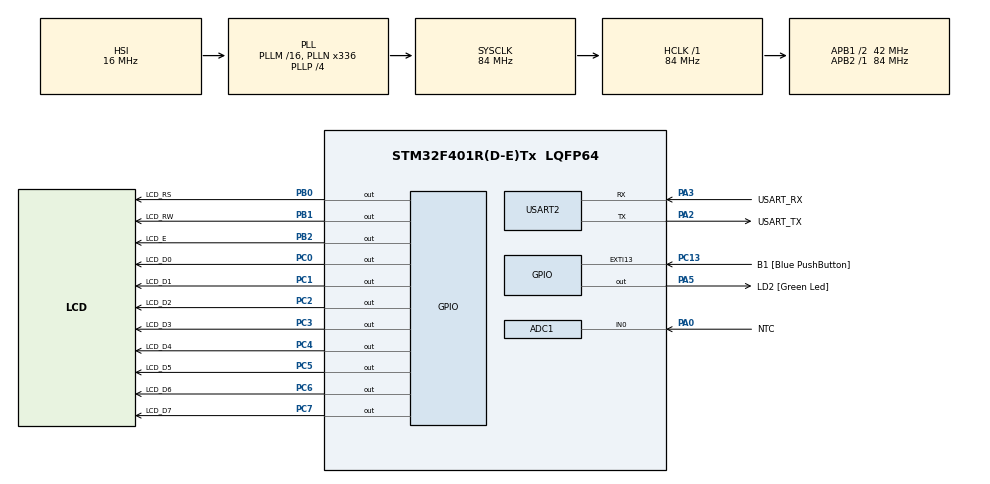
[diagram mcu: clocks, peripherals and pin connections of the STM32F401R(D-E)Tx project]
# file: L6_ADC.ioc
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ADC1.Channel-0\#ChannelRegularConversion=ADC_CHANNEL_VREFINT
ADC1.Channel-1\#ChannelRegularConversion=ADC_CHANNEL_TEMPSENSOR
ADC1.Channel-2\#ChannelRegularConversion=ADC_CHANNEL_0
ADC1.ClockPrescaler=ADC_CLOCK_SYNC_PCLK_DIV4
ADC1.ContinuousConvMode=ENABLE
ADC1.DMAContinuousRequests=DISABLE
ADC1.DataAlign=ADC_DATAALIGN_RIGHT
ADC1.DiscontinuousConvMode=DISABLE
ADC1.EOCSelection=ADC_EOC_SINGLE_CONV
ADC1.EnableAnalogWatchDog=false
ADC1.ExternalTrigConv=ADC_SOFTWARE_START
ADC1.ExternalTrigConvEdge=ADC_EXTERNALTRIGCONVEDGE_NONE
ADC1.InjNumberOfConversion=0
ADC1.NbrOfConversion=3
ADC1.NbrOfConversionFlag=1
ADC1.Rank-0\#ChannelRegularConversion=1
ADC1.Rank-1\#ChannelRegularConversion=2
ADC1.Rank-2\#ChannelRegularConversion=3
ADC1.Resolution=ADC_RESOLUTION_12B
ADC1.SamplingTime-0\#ChannelRegularConversion=ADC_SAMPLETIME_480CYCLES
ADC1.SamplingTime-1\#ChannelRegularConversion=ADC_SAMPLETIME_480CYCLES
ADC1.SamplingTime-2\#ChannelRegularConversion=ADC_SAMPLETIME_480CYCLES
ADC1.ScanConvMode=ENABLE
ADC1.master=1
Mcu.Family=STM32F4
Mcu.Name=STM32F401R(D-E)Tx
Mcu.Package=LQFP64
NVIC.ADC_IRQn=true\:0\:0\:false\:false\:true\:true
NVIC.PriorityGroup=NVIC_PRIORITYGROUP_0
NVIC.TIM1_TRG_COM_TIM11_IRQn=true\:0\:0\:false\:false\:true\:true
NVIC.TIM1_UP_TIM10_IRQn=true\:0\:0\:false\:false\:true\:true
PA0-WKUP.GPIO_Label=NTC
PA0-WKUP.Signal=ADCx_IN0
PA13.GPIO_Label=TMS
PA13.Mode=Serial_Wire
PA13.Signal=SYS_JTMS-SWDIO
PA14.GPIO_Label=TCK
PA14.Mode=Serial_Wire
PA14.Signal=SYS_JTCK-SWCLK
PA2.GPIO_Label=USART_TX
PA2.GPIO_Mode=GPIO_MODE_AF_PP
PA2.GPIO_PuPd=GPIO_NOPULL
PA2.GPIO_Speed=GPIO_SPEED_FREQ_LOW
PA2.Mode=Asynchronous
PA2.Signal=USART2_TX
PA3.GPIO_Label=USART_RX
PA3.GPIO_Mode=GPIO_MODE_AF_PP
PA3.GPIO_PuPd=GPIO_NOPULL
PA3.GPIO_Speed=GPIO_SPEED_FREQ_LOW
PA3.Mode=Asynchronous
PA3.Signal=USART2_RX
PA5.GPIO_Label=LD2 [Green Led]
PA5.GPIO_Mode=GPIO_MODE_OUTPUT_PP
PA5.GPIO_PuPd=GPIO_NOPULL
PA5.GPIO_Speed=GPIO_SPEED_FREQ_LOW
PA5.Signal=GPIO_Output
PB0.GPIO_Label=LCD_RS
PB0.Signal=GPIO_Output
PB1.GPIO_Label=LCD_RW
PB1.Signal=GPIO_Output
PB2.GPIO_Label=LCD_E
PB2.Signal=GPIO_Output
PB3.GPIO_Label=SWO
PB3.Signal=SYS_JTDO-SWO
PC0.GPIO_Label=LCD_D0
PC0.Signal=GPIO_Output
PC1.GPIO_Label=LCD_D1
PC1.Signal=GPIO_Output
PC13-ANTI_TAMP.GPIO_Label=B1 [Blue PushButton]
PC13-ANTI_TAMP.GPIO_ModeDefaultEXTI=GPIO_MODE_IT_FALLING
PC13-ANTI_TAMP.GPIO_PuPd=GPIO_NOPULL
PC13-ANTI_TAMP.Signal=GPXTI13
PC14-OSC32_IN.Mode=LSE-External-Clock-Source
PC14-OSC32_IN.Signal=RCC_OSC32_IN
PC15-OSC32_OUT.Mode=LSE-External-Clock-Source
PC15-OSC32_OUT.Signal=RCC_OSC32_OUT
PC2.GPIO_Label=LCD_D2
PC2.Signal=GPIO_Output
PC3.GPIO_Label=LCD_D3
PC3.Signal=GPIO_Output
PC4.GPIO_Label=LCD_D4
PC4.Signal=GPIO_Output
PC5.GPIO_Label=LCD_D5
PC5.Signal=GPIO_Output
PC6.GPIO_Label=LCD_D6
PC6.Signal=GPIO_Output
PC7.GPIO_Label=LCD_D7
PC7.Signal=GPIO_Output
PH0\ -\ OSC_IN.Mode=HSE-External-Clock-Source
PH0\ -\ OSC_IN.Signal=RCC_OSC_IN
PH1\ -\ OSC_OUT.Mode=HSE-External-Clock-Source
PH1\ -\ OSC_OUT.Signal=RCC_OSC_OUT
ProjectManager.HeapSize=0x200
ProjectManager.StackSize=0x400
ProjectManager.TargetToolchain=TrueSTUDIO
RCC.48MHZClocksFreq_Value=48000000
RCC.AHBFreq_Value=84000000
RCC.APB1CLKDivider=RCC_HCLK_DIV2
RCC.APB1Freq_Value=42000000
RCC.APB1TimFreq_Value=84000000
RCC.APB2Freq_Value=84000000
RCC.APB2TimFreq_Value=84000000
RCC.CortexFreq_Value=84000000
RCC.HCLKFreq_Value=84000000
RCC.HSE_VALUE=8000000
RCC.HSI_VALUE=16000000
RCC.LSE_VALUE=0.032768
RCC.PLLN=336
RCC.PLLP=RCC_PLLP_DIV4
RCC.PLLQ=7
RCC.SYSCLKFreq_VALUE=84000000
RCC.SYSCLKSource=RCC_SYSCLKSOURCE_PLLCLK
RCC.VCOOutputFreq_Value=336000000
SH.ADCx_IN0.0=ADC1_IN0,IN0
TIM10.Period=49999
TIM10.Prescaler=15
TIM11.Period=79
USART2.VirtualMode=VM_ASYNC
VP_ADC1_TempSens_Input.Mode=IN-TempSens
VP_ADC1_Vref_Input.Mode=IN-Vrefint
VP_TIM10_VS_ClockSourceINT.Mode=Enable_Timer
VP_TIM11_VS_ClockSourceINT.Mode=Enable_Timer
board=NUCLEO-F401RE

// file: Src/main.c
/**
  ******************************************************************************
  * @file           : main.c
  * @brief          : Main program body
  ******************************************************************************
  ** This notice applies to any and all portions of this file
  * that are not between comment pairs USER CODE BEGIN and
  * USER CODE END. Other portions of this file, whether
  * inserted by the user or by software development tools
  * are owned by their respective copyright owners.
  *
  * COPYRIGHT(c) 2018 STMicroelectronics
  *
  * Redistribution and use in source and binary forms, with or without modification,
  * are permitted provided that the following conditions are met:
  *   1. Redistributions of source code must retain the above copyright notice,
  *      this list of conditions and the following disclaimer.
  *   2. Redistributions in binary form must reproduce the above copyright notice,
  *      this list of conditions and the following disclaimer in the documentation
  *      and/or other materials provided with the distribution.
  *   3. Neither the name of STMicroelectronics nor the names of its contributors
  *      may be used to endorse or promote products derived from this software
  *      without specific prior written permission.
  *
  * THIS SOFTWARE IS PROVIDED BY THE COPYRIGHT HOLDERS AND CONTRIBUTORS "AS IS"
  * AND ANY EXPRESS OR IMPLIED WARRANTIES, INCLUDING, BUT NOT LIMITED TO, THE
  * IMPLIED WARRANTIES OF MERCHANTABILITY AND FITNESS FOR A PARTICULAR PURPOSE ARE
  * DISCLAIMED. IN NO EVENT SHALL THE COPYRIGHT HOLDER OR CONTRIBUTORS BE LIABLE
  * FOR ANY DIRECT, INDIRECT, INCIDENTAL, SPECIAL, EXEMPLARY, OR CONSEQUENTIAL
  * DAMAGES (INCLUDING, BUT NOT LIMITED TO, PROCUREMENT OF SUBSTITUTE GOODS OR
  * SERVICES; LOSS OF USE, DATA, OR PROFITS; OR BUSINESS INTERRUPTION) HOWEVER
  * CAUSED AND ON ANY THEORY OF LIABILITY, WHETHER IN CONTRACT, STRICT LIABILITY,
  * OR TORT (INCLUDING NEGLIGENCE OR OTHERWISE) ARISING IN ANY WAY OUT OF THE USE
  * OF THIS SOFTWARE, EVEN IF ADVISED OF THE POSSIBILITY OF SUCH DAMAGE.
  *
  ******************************************************************************
  */
#include "main.h"
#include "stm32f4xx_hal.h"

/* USER CODE BEGIN Includes */
#include "lcd.h"

#define VREFIN_CAL_ADDR ((uint16_t*)((uint32_t) 0x1FFF7A2A)) // Från tabell 76 i databladet
#define TS_CAL30_ADDR ((uint16_t*)((uint32_t) 0x1FFF7A2C)) // TS_CAL1 från tabell 73 i databladet
#define TS_CAL110_ADDR ((uint16_t*)((uint32_t) 0x1FFF7A2E)) // TS_CAL2 från tabell 73 i databladet

/* USER CODE END Includes */

ADC_HandleTypeDef hadc1;

TIM_HandleTypeDef htim10;
TIM_HandleTypeDef htim11;

UART_HandleTypeDef huart2;

/* USER CODE BEGIN PV */
/* Private variables ---------------------------------------------------------*/
volatile uint32_t sekTick=0, adcInterupt=0;

/* USER CODE END PV */

void SystemClock_Config(void);
static void MX_GPIO_Init(void);
static void MX_USART2_UART_Init(void);
static void MX_ADC1_Init(void);
static void MX_TIM10_Init(void);
static void MX_TIM11_Init(void);
int internalTemp(uint32_t temprature);
int roomTemp(uint32_t temp);
int Vdd(uint32_t voltage);

/* USER CODE BEGIN PFP */
/* Private function prototypes -----------------------------------------------*/

/* USER CODE END PFP */

/* USER CODE BEGIN 0 */

uint32_t vrefValue = 0, cpuTemp = 0, Ch0 = 0, counter = 1;

void HAL_ADC_ConvCpltCallback(ADC_HandleTypeDef* AdcHandle){

		if (counter == 1) {
			vrefValue = HAL_ADC_GetValue(&hadc1);
		}

		else if (counter == 2) {
			cpuTemp = HAL_ADC_GetValue(&hadc1);
		}

		else if (counter == 3) {
			Ch0 = HAL_ADC_GetValue(&hadc1);
			counter = 0;
		}

	counter++;

}

int internalTemp(uint32_t temprature){

	temprature = ((80/((TS_CAL110_ADDR - TS_CAL30_ADDR))) * (temprature - (uint32_t)(TS_CAL30_ADDR))) + 30;
	temprature/=100000;
	return temprature;
}

int Vdd(uint32_t voltage){

	voltage = 33 * ((uint32_t)VREFIN_CAL_ADDR/voltage);
	voltage/=10;
	return voltage;
}

int roomTemp(uint32_t temp){

	temp = ((((25 - 4)/(2048.0 - 1080.0))*temp) + (4-(1080.0*((25 - 4) / (2048.0 - 1080.0)))));
	return temp;
}

/* USER CODE END 0 */

int main(void)
{
  /* USER CODE BEGIN 1 */

	TextLCDType lcd;

  /* USER CODE END 1 */

  /* MCU Configuration----------------------------------------------------------*/

  /* Reset of all peripherals, Initializes the Flash interface and the Systick. */
  HAL_Init();

  /* Configure the system clock */
  SystemClock_Config();

  /* Initialize all configured peripherals */
  MX_GPIO_Init();
  MX_USART2_UART_Init();
  MX_ADC1_Init();
  MX_TIM10_Init();
  MX_TIM11_Init();
  /* USER CODE BEGIN 2 */

  HAL_TIM_Base_Start_IT(&htim10);
  HAL_ADC_Start_IT(&hadc1);

  TextLCD_Init(&lcd, LCD_RS_GPIO_Port, LCD_RS_Pin, LCD_RW_Pin, LCD_E_Pin,
  LCD_D0_GPIO_Port,(LCD_D0_Pin | LCD_D1_Pin | LCD_D2_Pin | LCD_D3_Pin | LCD_D4_Pin | LCD_D5_Pin | LCD_D6_Pin | LCD_D7_Pin));

  TextLCD_Position(&lcd, 1,1);
  TextLCD_Puts(&lcd, "CPU Temp:");
  TextLCD_Position(&lcd, 1,2);
  TextLCD_Puts(&lcd, "Room Temp:");

  /* USER CODE END 2 */

  /* Infinite loop */
  /* USER CODE BEGIN WHILE */
  while (1)
  {
	  TextLCD_Position(&lcd, 11,1);
	  TextLCD_PrintI(&lcd, internalTemp(cpuTemp) );

	  HAL_Delay(100);

	  TextLCD_Position(&lcd, 12,2);
	  TextLCD_PrintI(&lcd, roomTemp(Ch0) );

	  HAL_Delay(100);

  /* USER CODE END WHILE */

  }

}

void SystemClock_Config(void)
{

  RCC_OscInitTypeDef RCC_OscInitStruct;
  RCC_ClkInitTypeDef RCC_ClkInitStruct;

    /**Configure the main internal regulator output voltage
    */
  __HAL_RCC_PWR_CLK_ENABLE();

  __HAL_PWR_VOLTAGESCALING_CONFIG(PWR_REGULATOR_VOLTAGE_SCALE2);

    /**Initializes the CPU, AHB and APB busses clocks
    */
  RCC_OscInitStruct.OscillatorType = RCC_OSCILLATORTYPE_HSI;
  RCC_OscInitStruct.HSIState = RCC_HSI_ON;
  RCC_OscInitStruct.HSICalibrationValue = 16;
  RCC_OscInitStruct.PLL.PLLState = RCC_PLL_ON;
  RCC_OscInitStruct.PLL.PLLSource = RCC_PLLSOURCE_HSI;
  RCC_OscInitStruct.PLL.PLLM = 16;
  RCC_OscInitStruct.PLL.PLLN = 336;
  RCC_OscInitStruct.PLL.PLLP = RCC_PLLP_DIV4;
  RCC_OscInitStruct.PLL.PLLQ = 7;
  if (HAL_RCC_OscConfig(&RCC_OscInitStruct) != HAL_OK)
  {
    _Error_Handler(__FILE__, __LINE__);
  }

    /**Initializes the CPU, AHB and APB busses clocks
    */
  RCC_ClkInitStruct.ClockType = RCC_CLOCKTYPE_HCLK|RCC_CLOCKTYPE_SYSCLK
                              |RCC_CLOCKTYPE_PCLK1|RCC_CLOCKTYPE_PCLK2;
  RCC_ClkInitStruct.SYSCLKSource = RCC_SYSCLKSOURCE_PLLCLK;
  RCC_ClkInitStruct.AHBCLKDivider = RCC_SYSCLK_DIV1;
  RCC_ClkInitStruct.APB1CLKDivider = RCC_HCLK_DIV2;
  RCC_ClkInitStruct.APB2CLKDivider = RCC_HCLK_DIV1;

  if (HAL_RCC_ClockConfig(&RCC_ClkInitStruct, FLASH_LATENCY_2) != HAL_OK)
  {
    _Error_Handler(__FILE__, __LINE__);
  }

    /**Configure the Systick interrupt time
    */
  HAL_SYSTICK_Config(HAL_RCC_GetHCLKFreq()/1000);

    /**Configure the Systick
    */
  HAL_SYSTICK_CLKSourceConfig(SYSTICK_CLKSOURCE_HCLK);

  /* SysTick_IRQn interrupt configuration */
  HAL_NVIC_SetPriority(SysTick_IRQn, 0, 0);
}

/* ADC1 init function */
static void MX_ADC1_Init(void)
{

  ADC_ChannelConfTypeDef sConfig;

    /**Configure the global features of the ADC (Clock, Resolution, Data Alignment and number of conversion)
    */
  hadc1.Instance = ADC1;
  hadc1.Init.ClockPrescaler = ADC_CLOCK_SYNC_PCLK_DIV4;
  hadc1.Init.Resolution = ADC_RESOLUTION_12B;
  hadc1.Init.ScanConvMode = ENABLE;
  hadc1.Init.ContinuousConvMode = ENABLE;
  hadc1.Init.DiscontinuousConvMode = DISABLE;
  hadc1.Init.ExternalTrigConvEdge = ADC_EXTERNALTRIGCONVEDGE_NONE;
  hadc1.Init.ExternalTrigConv = ADC_SOFTWARE_START;
  hadc1.Init.DataAlign = ADC_DATAALIGN_RIGHT;
  hadc1.Init.NbrOfConversion = 3;
  hadc1.Init.DMAContinuousRequests = DISABLE;
  hadc1.Init.EOCSelection = ADC_EOC_SINGLE_CONV;
  if (HAL_ADC_Init(&hadc1) != HAL_OK)
  {
    _Error_Handler(__FILE__, __LINE__);
  }

    /**Configure for the selected ADC regular channel its corresponding rank in the sequencer and its sample time.
    */
  sConfig.Channel = ADC_CHANNEL_VREFINT;
  sConfig.Rank = 1;
  sConfig.SamplingTime = ADC_SAMPLETIME_480CYCLES;
  if (HAL_ADC_ConfigChannel(&hadc1, &sConfig) != HAL_OK)
  {
    _Error_Handler(__FILE__, __LINE__);
  }

    /**Configure for the selected ADC regular channel its corresponding rank in the sequencer and its sample time.
    */
  sConfig.Channel = ADC_CHANNEL_TEMPSENSOR;
  sConfig.Rank = 2;
  if (HAL_ADC_ConfigChannel(&hadc1, &sConfig) != HAL_OK)
  {
    _Error_Handler(__FILE__, __LINE__);
  }

    /**Configure for the selected ADC regular channel its corresponding rank in the sequencer and its sample time.
    */
  sConfig.Channel = ADC_CHANNEL_0;
  sConfig.Rank = 3;
  if (HAL_ADC_ConfigChannel(&hadc1, &sConfig) != HAL_OK)
  {
    _Error_Handler(__FILE__, __LINE__);
  }

}

/* TIM10 init function */
static void MX_TIM10_Init(void)
{
  htim10.Instance = TIM10;
  htim10.Init.Prescaler = 1343;
  htim10.Init.CounterMode = TIM_COUNTERMODE_UP;
  htim10.Init.Period = 62499;
  htim10.Init.ClockDivision = TIM_CLOCKDIVISION_DIV1;
  if (HAL_TIM_Base_Init(&htim10) != HAL_OK)
  {
    _Error_Handler(__FILE__, __LINE__);
  }

}

/* TIM11 init function */
static void MX_TIM11_Init(void)
{

  htim11.Instance = TIM11;
  htim11.Init.Prescaler = 0;
  htim11.Init.CounterMode = TIM_COUNTERMODE_UP;
  htim11.Init.Period = 79;
  htim11.Init.ClockDivision = TIM_CLOCKDIVISION_DIV1;
  if (HAL_TIM_Base_Init(&htim11) != HAL_OK)
  {
    _Error_Handler(__FILE__, __LINE__);
  }

}

/* USART2 init function */
static void MX_USART2_UART_Init(void)
{

  huart2.Instance = USART2;
  huart2.Init.BaudRate = 115200;
  huart2.Init.WordLength = UART_WORDLENGTH_8B;
  huart2.Init.StopBits = UART_STOPBITS_1;
  huart2.Init.Parity = UART_PARITY_NONE;
  huart2.Init.Mode = UART_MODE_TX_RX;
  huart2.Init.HwFlowCtl = UART_HWCONTROL_NONE;
  huart2.Init.OverSampling = UART_OVERSAMPLING_16;
  if (HAL_UART_Init(&huart2) != HAL_OK)
  {
    _Error_Handler(__FILE__, __LINE__);
  }

}

/** Configure pins as
        * Analog
        * Input
        * Output
        * EVENT_OUT
        * EXTI
*/
static void MX_GPIO_Init(void)
{

  GPIO_InitTypeDef GPIO_InitStruct;

  /* GPIO Ports Clock Enable */
  __HAL_RCC_GPIOC_CLK_ENABLE();
  __HAL_RCC_GPIOH_CLK_ENABLE();
  __HAL_RCC_GPIOA_CLK_ENABLE();
  __HAL_RCC_GPIOB_CLK_ENABLE();

  /*Configure GPIO pin Output Level */
  HAL_GPIO_WritePin(GPIOC, LCD_D0_Pin|LCD_D1_Pin|LCD_D2_Pin|LCD_D3_Pin
                          |LCD_D4_Pin|LCD_D5_Pin|LCD_D6_Pin|LCD_D7_Pin, GPIO_PIN_RESET);

  /*Configure GPIO pin Output Level */
  HAL_GPIO_WritePin(LD2_GPIO_Port, LD2_Pin, GPIO_PIN_RESET);

  /*Configure GPIO pin Output Level */
  HAL_GPIO_WritePin(GPIOB, LCD_RS_Pin|LCD_RW_Pin|LCD_E_Pin, GPIO_PIN_RESET);

  /*Configure GPIO pin : B1_Pin */
  GPIO_InitStruct.Pin = B1_Pin;
  GPIO_InitStruct.Mode = GPIO_MODE_IT_FALLING;
  GPIO_InitStruct.Pull = GPIO_NOPULL;
  HAL_GPIO_Init(B1_GPIO_Port, &GPIO_InitStruct);

  /*Configure GPIO pins : LCD_D0_Pin LCD_D1_Pin LCD_D2_Pin LCD_D3_Pin
                           LCD_D4_Pin LCD_D5_Pin LCD_D6_Pin LCD_D7_Pin */
  GPIO_InitStruct.Pin = LCD_D0_Pin|LCD_D1_Pin|LCD_D2_Pin|LCD_D3_Pin
                          |LCD_D4_Pin|LCD_D5_Pin|LCD_D6_Pin|LCD_D7_Pin;
  GPIO_InitStruct.Mode = GPIO_MODE_OUTPUT_PP;
  GPIO_InitStruct.Pull = GPIO_NOPULL;
  GPIO_InitStruct.Speed = GPIO_SPEED_FREQ_LOW;
  HAL_GPIO_Init(GPIOC, &GPIO_InitStruct);

  /*Configure GPIO pin : LD2_Pin */
  GPIO_InitStruct.Pin = LD2_Pin;
  GPIO_InitStruct.Mode = GPIO_MODE_OUTPUT_PP;
  GPIO_InitStruct.Pull = GPIO_NOPULL;
  GPIO_InitStruct.Speed = GPIO_SPEED_FREQ_LOW;
  HAL_GPIO_Init(LD2_GPIO_Port, &GPIO_InitStruct);

  /*Configure GPIO pins : LCD_RS_Pin LCD_RW_Pin LCD_E_Pin */
  GPIO_InitStruct.Pin = LCD_RS_Pin|LCD_RW_Pin|LCD_E_Pin;
  GPIO_InitStruct.Mode = GPIO_MODE_OUTPUT_PP;
  GPIO_InitStruct.Pull = GPIO_NOPULL;
  GPIO_InitStruct.Speed = GPIO_SPEED_FREQ_LOW;
  HAL_GPIO_Init(GPIOB, &GPIO_InitStruct);

}

void _Error_Handler(char *file, int line)
{
  while(1)
  {
  }
}

/************************ (C) COPYRIGHT STMicroelectronics *****END OF FILE****/
